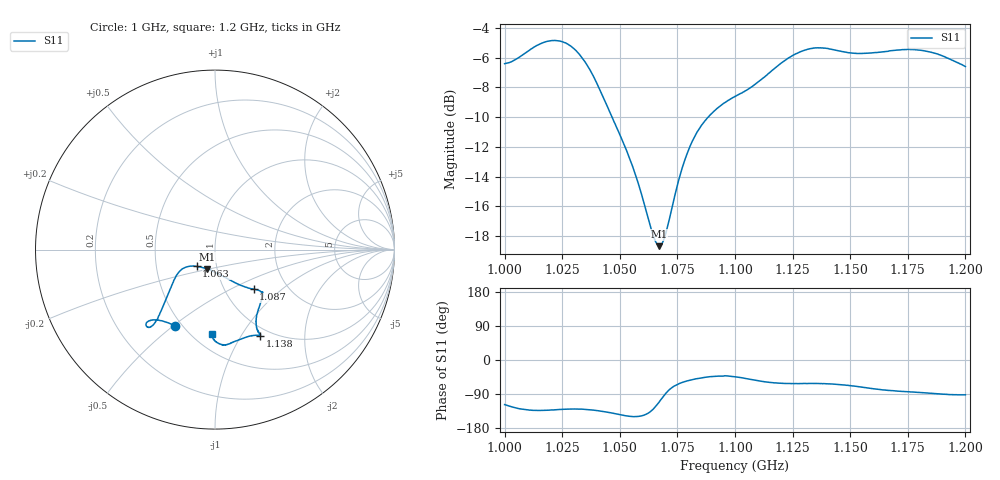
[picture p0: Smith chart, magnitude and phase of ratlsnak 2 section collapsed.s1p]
! NanoVNA-App
! Date: 2026-05-22 22:06:10
! Start: 1GHz Stop: 1.2GHz Points: 401
! S-Parameter data: F S11
# Hz S RI R 50
!  Frequency  S11_Real  S11_Imag
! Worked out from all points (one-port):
!   401 points, 1 GHz to 1.2 GHz, reference 50 ohm
!   lowest |S11| = -18.7 dB at 1.067 GHz (marker M1), VSWR 1.26, Z = 44.9 - j9.83 ohm
!   |S11| at or under -10 dB: 1.047 GHz to 1.088 GHz (41.72 MHz wide, 3.91 % of centre)
!   S11 on the Smith chart (normalised r, x): 1 GHz: 0.46, -0.51; 1.063 GHz: 0.80, -0.15; 1.087 GHz: 1.36, -0.66; 1.138 GHz: 0.89, -1.21; 1.2 GHz: 0.63, -0.75
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1e9  -0.2224 -0.4237
1.006e9  -0.309 -0.3943
1.013e9  -0.3714 -0.3994
1.0185e9  -0.3844 -0.4197
1.025e9  -0.3664 -0.4333
1.0305e9  -0.3386 -0.4131
1.036e9  -0.3077 -0.3561
1.05e9  -0.2237 -0.1617
1.0565e9  -0.177 -0.1047
1.063e9  -0.1019 -0.0933
1.065e9  -0.073 -0.0995
1.067e9  -0.0431 -0.1081
1.0685e9  -0.0193 -0.118
1.07e9  0.00495 -0.1288
1.075e9  0.0806 -0.1683
1.0805e9  0.1521 -0.2018
1.087e9  0.2149 -0.2202
1.0955e9  0.2644 -0.2348
1.1e9  0.2657 -0.2594
1.114e9  0.231 -0.3738
1.125e9  0.238 -0.4512
1.138e9  0.2495 -0.4799
1.15e9  0.1978 -0.4812
1.1635e9  0.1057 -0.5133
1.175e9  0.0582 -0.5318
1.187e9  0.0122 -0.5181
1.1935e9  -0.0111 -0.4949
1.2e9  -0.015 -0.4679
